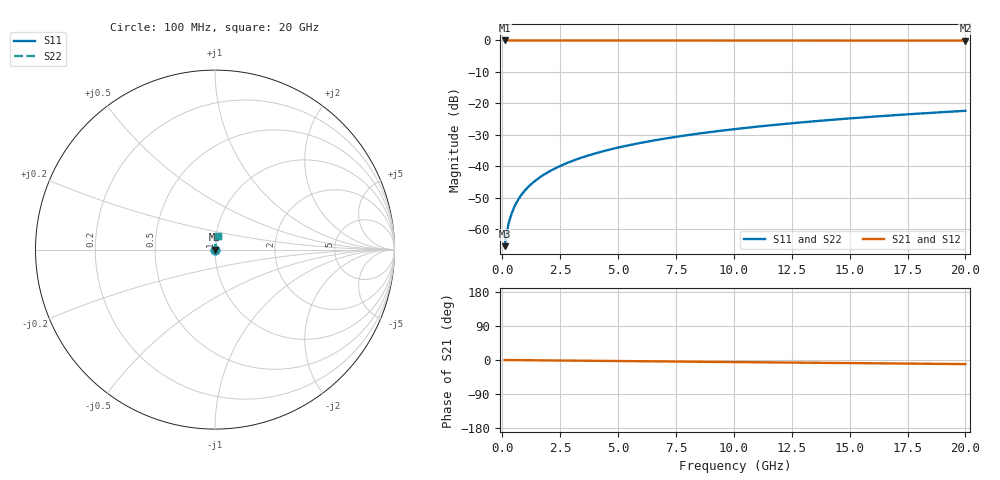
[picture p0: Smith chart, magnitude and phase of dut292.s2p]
! Touchstone file exported from HFSS 2026.1.0
!  File:  C:/ffzhzh/LocalFiles/Ansys_Project_Files/temp_train_TSV_292_1782993782_41620.aedt
!  Generated:  08:04:50 PM Jul  2, 2026
!  Design:  TSV
!  Project:  temp_train_TSV_292_1782993782_41620
! Variables:
!  h_bsmrdl = 2um
!  h_ox = 20um
!  h_rdl = 5um
!  h_sub = 98.96um
!  h_tmrdl = 5um
!  h_tsv = 98.96um
!  h_via = 3um
!  l_bsmrdl = 300um
!  l_sub = 412.64um
!  l_tmrdl = 200um
!  m_sub = 200um
!  pitch = 47.53um
!  r_tsv = 6.32um
!  s_tmrdl = 10um
!  w_bsmrdl = 18um
!  w_sub = 500um
!  w_tmrdl = 12um
!  x_tsv_center1 = 206um
!  x_tsv_center2 = 524um
!  x_tsv_center3 = 736um
!  x_tsv_center4 = 1054um
!  x_tsv_center5 = 1266um
!  x_tsv_center6 = 1584um
# GHz S MA R 50.000000
! Terminal data exported
! Port[1] = TSV1_1_T1
! Port[2] = TSV1_1_T2
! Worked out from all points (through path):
!   200 points, 100 MHz to 20 GHz, reference 50 ohm
!   highest |S21| = 0.00 dB at 100 MHz (marker M1); lowest = 0.0 dB at 20 GHz (marker M2)
!   group delay of S21, straight-line fit = 1.5 ps
!   lowest |S11| = -65.4 dB at 100 MHz (marker M3), VSWR 1.00, Z = 50 + j0.0434 ohm
!   |S11| at or under -10 dB: start of sweep to end of sweep
!   |S22| runs from -65.4 to -22.4 dB; largest |S21 - S12| = 1.8e-15
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0.1  0.0005368 53.9  0.9997 -0.1  0.9997 -0.1  0.0005368 53.9
! Gamma 0 0 0 0
! Port Impedance 50 0 50 0
0.2  0.0009254 69.3  0.9997 -0.1  0.9997 -0.1  0.0009254 69.3
0.3  0.001339 75.1  0.9997 -0.2  0.9997 -0.2  0.001339 75.1
0.4  0.001757 77.9  0.9996 -0.2  0.9996 -0.2  0.001757 77.9
0.5  0.002174 79.5  0.9996 -0.3  0.9996 -0.3  0.002174 79.5
0.6  0.002588 80.6  0.9996 -0.3  0.9996 -0.3  0.002588 80.6
0.7  0.002998 81.3  0.9996 -0.4  0.9996 -0.4  0.002998 81.3
0.8  0.003405 81.8  0.9995 -0.5  0.9995 -0.5  0.003405 81.8
1  0.004209 82.5  0.9995 -0.6  0.9995 -0.6  0.004209 82.5
1.4  0.005797 83.4  0.9994 -0.8  0.9994 -0.8  0.005797 83.4
1.7  0.006978 83.8  0.9993 -0.9  0.9993 -0.9  0.006978 83.8
2  0.008155 84.1  0.9993 -1.1  0.9993 -1.1  0.008155 84.1
2.7  0.01089 84.4  0.9991 -1.5  0.9991 -1.5  0.01089 84.4
3.5  0.014 84.4  0.999 -1.9  0.999 -1.9  0.014 84.4
4.2  0.01671 84.4  0.9989 -2.3  0.9989 -2.3  0.01671 84.4
5  0.0198 84.2  0.9987 -2.7  0.9987 -2.7  0.0198 84.2
6.8  0.02669 83.6  0.9984 -3.7  0.9984 -3.7  0.02669 83.6
8.3  0.03239 83.0  0.9981 -4.5  0.9981 -4.5  0.03239 83.0
10.1  0.03921 82.3  0.9977 -5.5  0.9977 -5.5  0.03921 82.3
13.4  0.05164 80.8  0.9969 -7.3  0.9969 -7.3  0.05164 80.8
16.7  0.06396 79.2  0.996 -9.0  0.996 -9.0  0.06396 79.2
20  0.07614 77.6  0.995 -10.8  0.995 -10.8  0.07614 77.6
